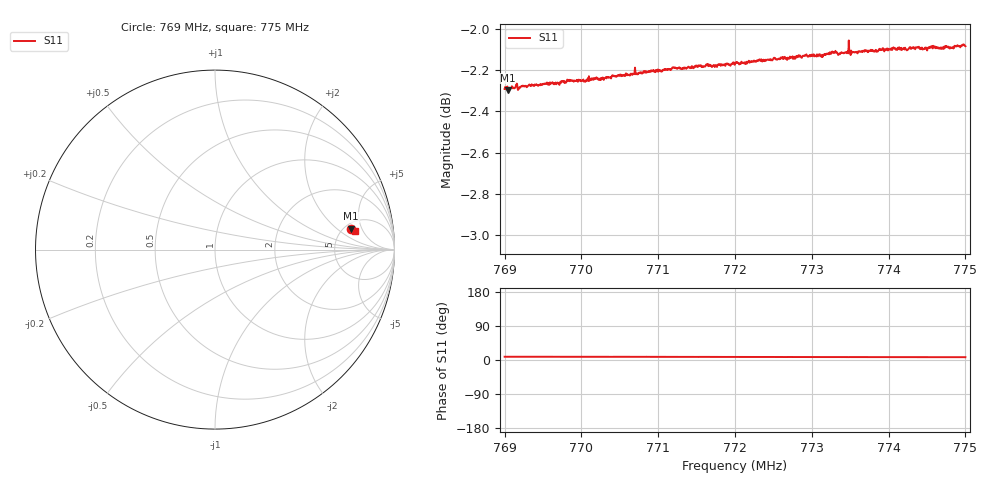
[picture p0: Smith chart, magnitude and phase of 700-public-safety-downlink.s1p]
! Calibrated averaged scanner-service zoom
# Hz S RI R 50
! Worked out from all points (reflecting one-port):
!   1001 points, 769 MHz to 775 MHz, reference 50 ohm
!   lowest |S11| = -2.3 dB at 769.042 MHz (marker M1), VSWR 7.61, Z = 287 + j162 ohm
!   phase of S11 starts at 9 deg and turns -1 deg over the sweep
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7.69e8  0.7594 0.1157
7.69042e8  0.7589 0.116
7.6963e8  0.7621 0.1136
7.69702e8  0.7622 0.1142
7.6975e8  0.7632 0.1139
7.70128e8  0.7645 0.113
7.7026e8  0.7642 0.114
7.705e8  0.7659 0.1138
7.7125e8  0.7688 0.1122
7.71346e8  0.7695 0.1107
7.71574e8  0.7698 0.1114
7.71736e8  0.7698 0.11
7.72e8  0.7715 0.1095
7.72114e8  0.7719 0.1089
7.72204e8  0.7723 0.1097
7.72324e8  0.773 0.1085
7.7275e8  0.7749 0.1076
7.7314e8  0.7749 0.1059
7.73284e8  0.777 0.1061
7.73368e8  0.7762 0.1051
7.735e8  0.7775 0.1053
7.73572e8  0.7772 0.1049
7.74022e8  0.7783 0.1043
7.7425e8  0.7786 0.1024
7.74568e8  0.7797 0.1027
7.74676e8  0.7791 0.1015
7.74838e8  0.7794 0.1015
7.75e8  0.7802 0.1015
